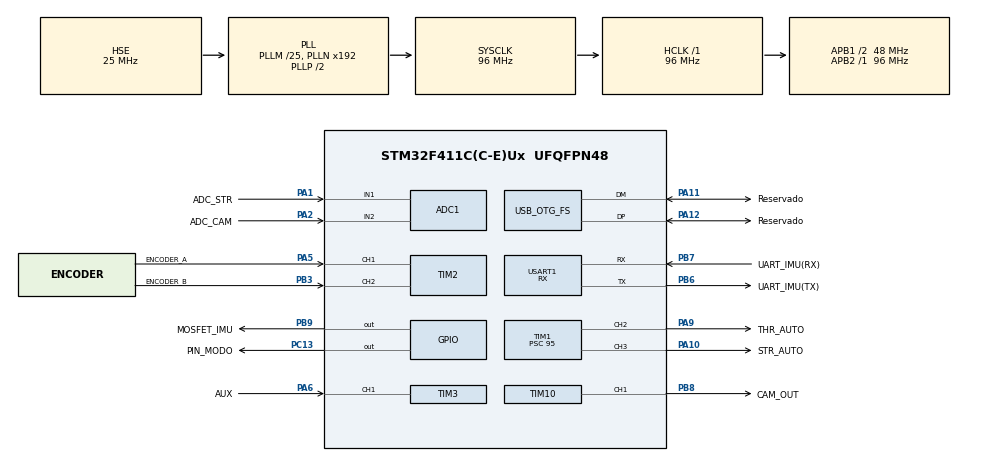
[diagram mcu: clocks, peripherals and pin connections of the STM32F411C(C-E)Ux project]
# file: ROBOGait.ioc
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ADC1.Channel-2\#ChannelRegularConversion=ADC_CHANNEL_1
ADC1.Channel-3\#ChannelRegularConversion=ADC_CHANNEL_2
ADC1.ContinuousConvMode=ENABLE
ADC1.DMAContinuousRequests=ENABLE
ADC1.NbrOfConversion=2
ADC1.NbrOfConversionFlag=1
ADC1.Rank-2\#ChannelRegularConversion=1
ADC1.Rank-3\#ChannelRegularConversion=2
ADC1.SamplingTime-2\#ChannelRegularConversion=ADC_SAMPLETIME_480CYCLES
ADC1.SamplingTime-3\#ChannelRegularConversion=ADC_SAMPLETIME_480CYCLES
ADC1.ScanConvMode=ENABLE
ADC1.master=1
Dma.ADC1.0.Direction=DMA_PERIPH_TO_MEMORY
Dma.ADC1.0.FIFOMode=DMA_FIFOMODE_DISABLE
Dma.ADC1.0.Instance=DMA2_Stream0
Dma.ADC1.0.MemDataAlignment=DMA_MDATAALIGN_WORD
Dma.ADC1.0.MemInc=DMA_MINC_ENABLE
Dma.ADC1.0.Mode=DMA_CIRCULAR
Dma.ADC1.0.PeriphDataAlignment=DMA_PDATAALIGN_WORD
Dma.ADC1.0.PeriphInc=DMA_PINC_DISABLE
Dma.ADC1.0.Priority=DMA_PRIORITY_LOW
Dma.Request0=ADC1
Mcu.Family=STM32F4
Mcu.Name=STM32F411C(C-E)Ux
Mcu.Package=UFQFPN48
NVIC.DMA2_Stream0_IRQn=true\:0\:0\:false\:false\:true\:false\:true\:true
NVIC.OTG_FS_IRQn=true\:0\:0\:false\:false\:true\:false\:true\:true
NVIC.PriorityGroup=NVIC_PRIORITYGROUP_4
NVIC.TIM1_TRG_COM_TIM11_IRQn=true\:0\:0\:false\:false\:true\:true\:true\:true
NVIC.TIM2_IRQn=true\:0\:0\:false\:false\:true\:true\:true\:true
NVIC.TIM3_IRQn=true\:0\:0\:false\:false\:true\:true\:true\:true
NVIC.USART1_IRQn=true\:0\:0\:false\:false\:true\:true\:true\:true
PA1.GPIO_Label=ADC_STR
PA1.Signal=ADCx_IN1
PA10.GPIO_Label=STR_AUTO
PA10.Signal=S_TIM1_CH3
PA11.GPIO_Label=Reservado
PA11.Mode=Device_Only
PA11.Signal=USB_OTG_FS_DM
PA12.GPIO_Label=Reservado
PA12.Mode=Device_Only
PA12.Signal=USB_OTG_FS_DP
PA2.GPIO_Label=ADC_CAM
PA2.Signal=ADCx_IN2
PA5.GPIO_Label=ENCODER_A
PA5.Signal=S_TIM2_CH1_ETR
PA6.GPIO_Label=AUX
PA6.Signal=S_TIM3_CH1
PA9.GPIO_Label=THR_AUTO
PA9.Signal=S_TIM1_CH2
PB3.GPIO_Label=ENCODER_B
PB3.Signal=S_TIM2_CH2
PB6.GPIO_Label=UART_IMU(TX)
PB6.Mode=Asynchronous
PB6.Signal=USART1_TX
PB7.GPIO_Label=UART_IMU(RX)
PB7.Mode=Asynchronous
PB7.Signal=USART1_RX
PB8.GPIO_Label=CAM_OUT
PB8.Signal=S_TIM10_CH1
PB9.GPIO_Label=MOSFET_IMU
PB9.Signal=GPIO_Output
PC13-ANTI_TAMP.GPIO_Label=PIN_MODO
PC13-ANTI_TAMP.Signal=GPIO_Output
PH0\ -\ OSC_IN.GPIO_Label=Reservado
PH0\ -\ OSC_IN.Mode=HSE-External-Oscillator
PH0\ -\ OSC_IN.Signal=RCC_OSC_IN
PH1\ -\ OSC_OUT.GPIO_Label=Reservado
PH1\ -\ OSC_OUT.Mode=HSE-External-Oscillator
PH1\ -\ OSC_OUT.Signal=RCC_OSC_OUT
ProjectManager.HeapSize=0x200
ProjectManager.StackSize=0x400
ProjectManager.TargetToolchain=STM32CubeIDE
RCC.48MHZClocksFreq_Value=48000000
RCC.AHBFreq_Value=96000000
RCC.APB1CLKDivider=RCC_HCLK_DIV2
RCC.APB1Freq_Value=48000000
RCC.APB1TimFreq_Value=96000000
RCC.APB2Freq_Value=96000000
RCC.APB2TimFreq_Value=96000000
RCC.CortexFreq_Value=96000000
RCC.HCLKFreq_Value=96000000
RCC.HSE_VALUE=25000000
RCC.HSI_VALUE=16000000
RCC.LSE_VALUE=32768
RCC.PLLM=25
RCC.SYSCLKFreq_VALUE=96000000
RCC.SYSCLKSource=RCC_SYSCLKSOURCE_PLLCLK
RCC.VCOOutputFreq_Value=192000000
SH.ADCx_IN1.0=ADC1_IN1,IN1
SH.ADCx_IN2.0=ADC1_IN2,IN2
SH.S_TIM10_CH1.0=TIM10_CH1,PWM Generation1 CH1
SH.S_TIM1_CH2.0=TIM1_CH2,PWM Generation2 CH2
SH.S_TIM1_CH3.0=TIM1_CH3,PWM Generation3 CH3
SH.S_TIM2_CH1_ETR.0=TIM2_CH1,Encoder_Interface
SH.S_TIM2_CH2.0=TIM2_CH2,Encoder_Interface
SH.S_TIM3_CH1.0=TIM3_CH1,PWM_Input_1
TIM1.Channel-PWM\ Generation2\ CH2=TIM_CHANNEL_2
TIM1.Channel-PWM\ Generation3\ CH3=TIM_CHANNEL_3
TIM1.Period=20000
TIM1.Prescaler=95
TIM10.Channel=TIM_CHANNEL_1
TIM10.Period=20000
TIM10.Prescaler=95
TIM10.Pulse=950
TIM3.Prescaler=100
USART1.Mode=MODE_RX
USART1.VirtualMode=VM_ASYNC
USB_DEVICE.CLASS_NAME_FS=CDC
USB_DEVICE.USBD_SELF_POWERED=0
USB_DEVICE.VirtualMode=Cdc
USB_DEVICE.VirtualModeFS=Cdc_FS
USB_OTG_FS.VirtualMode=Device_Only
VP_TIM10_VS_ClockSourceINT.Mode=Enable_Timer
VP_TIM1_VS_ClockSourceINT.Mode=Internal
VP_TIM3_VS_ClockSourceINT.Mode=Internal
VP_USB_DEVICE_VS_USB_DEVICE_CDC_FS.Mode=CDC_FS
board=custom

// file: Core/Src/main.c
/* USER CODE BEGIN Header */
/**
  ******************************************************************************
  * @file           : main.c
  * @brief          : Main program body
  ******************************************************************************
  * @attention
  *
  * Copyright (c) 2022 STMicroelectronics.
  * All rights reserved.
  *
  * This software is licensed under terms that can be found in the LICENSE file
  * in the root directory of this software component.
  * If no LICENSE file comes with this software, it is provided AS-IS.
  *
  ******************************************************************************
  */
/* USER CODE END Header */
#include "main.h"
#include "usb_device.h"

/* USER CODE BEGIN Includes */
#include <odometry.h>
#include <controller.h>
#include <radio.h>
#include <wt901c.h>
#include <interface.h>
#include <math.h>

/* USER CODE END Includes */

/* USER CODE BEGIN PD */
//Refresh rate
#define TIME 20 //ms
/* USER CODE END PD */

 ADC_HandleTypeDef hadc1;
DMA_HandleTypeDef hdma_adc1;

TIM_HandleTypeDef htim1;
TIM_HandleTypeDef htim2;
TIM_HandleTypeDef htim3;
TIM_HandleTypeDef htim10;

UART_HandleTypeDef huart1;

/* USER CODE BEGIN PV */

 Wt901c imu;
 Odometry odom;
 Controller control;
 Radio rc;

 float timer;

/* USER CODE END PV */

void SystemClock_Config(void);
static void MX_GPIO_Init(void);
static void MX_TIM3_Init(void);
static void MX_TIM10_Init(void);
static void MX_DMA_Init(void);
static void MX_TIM2_Init(void);
static void MX_ADC1_Init(void);
static void MX_TIM1_Init(void);
static void MX_USART1_UART_Init(void);
/* USER CODE BEGIN PFP */

void HAL_TIM_IC_CaptureCallback(TIM_HandleTypeDef *htim)
{
	//Medicion encoder
	if(htim->Instance == TIM2)
		odometry_callback(&odom);

	//Receptor radio
	if (htim->Instance == TIM3 && htim->Channel == 1)
		radio_callback(&rc);
}

void HAL_UART_RxCpltCallback(UART_HandleTypeDef *huart)
{
	//Comunicacion IMU
	wt901c_callback(&imu);
}

/* USER CODE END PFP */

int main(void)
{

  /* MCU Configuration--------------------------------------------------------*/

  /* Reset of all peripherals, Initializes the Flash interface and the Systick. */
  HAL_Init();

  /* Configure the system clock */
  SystemClock_Config();

  /* Initialize all configured peripherals */
  MX_GPIO_Init();
  MX_TIM3_Init();
  MX_TIM10_Init();
  MX_DMA_Init();
  MX_TIM2_Init();
  MX_ADC1_Init();
  MX_TIM1_Init();
  MX_USB_DEVICE_Init();
  MX_USART1_UART_Init();
  /* USER CODE BEGIN 2 */

  //Inicializacion de los "objetos"
  odometry_init(&odom, &htim2, &hadc1); //Odometria
  control_init(&control, &htim1, &htim10); //Control
  radio_init(&rc, &htim3); //Radio
  wt901c_init(&imu, &huart1); //IMU

  timer = HAL_GetTick();
  /* USER CODE END 2 */

  /* Infinite loop */
  /* USER CODE BEGIN WHILE */
  while (1)
  {
	  if(HAL_GetTick() - timer > TIME)
	  {
		  //Actualizacion radio
		  radio_update(&rc);

		  //Actualizacion control
		  control_update(&control, pid_compute(&control, &odom, &rc));

		  //Actualizacion odometria
		  odometry_update(&odom, imu.ang[2]);

		  //Envio mensaje USB
		  usb_transmit(&odom, &imu, &rc);

		  //Actualizacion temporizador
	  	  timer = HAL_GetTick();
	  }

    /* USER CODE END WHILE */

  }
}

void SystemClock_Config(void)
{
  RCC_OscInitTypeDef RCC_OscInitStruct = {0};
  RCC_ClkInitTypeDef RCC_ClkInitStruct = {0};

  /** Configure the main internal regulator output voltage
  */
  __HAL_RCC_PWR_CLK_ENABLE();
  __HAL_PWR_VOLTAGESCALING_CONFIG(PWR_REGULATOR_VOLTAGE_SCALE1);

  /** Initializes the RCC Oscillators according to the specified parameters
  * in the RCC_OscInitTypeDef structure.
  */
  RCC_OscInitStruct.OscillatorType = RCC_OSCILLATORTYPE_HSE;
  RCC_OscInitStruct.HSEState = RCC_HSE_ON;
  RCC_OscInitStruct.PLL.PLLState = RCC_PLL_ON;
  RCC_OscInitStruct.PLL.PLLSource = RCC_PLLSOURCE_HSE;
  RCC_OscInitStruct.PLL.PLLM = 25;
  RCC_OscInitStruct.PLL.PLLN = 192;
  RCC_OscInitStruct.PLL.PLLP = RCC_PLLP_DIV2;
  RCC_OscInitStruct.PLL.PLLQ = 4;
  if (HAL_RCC_OscConfig(&RCC_OscInitStruct) != HAL_OK)
  {
    Error_Handler();
  }

  /** Initializes the CPU, AHB and APB buses clocks
  */
  RCC_ClkInitStruct.ClockType = RCC_CLOCKTYPE_HCLK|RCC_CLOCKTYPE_SYSCLK
                              |RCC_CLOCKTYPE_PCLK1|RCC_CLOCKTYPE_PCLK2;
  RCC_ClkInitStruct.SYSCLKSource = RCC_SYSCLKSOURCE_PLLCLK;
  RCC_ClkInitStruct.AHBCLKDivider = RCC_SYSCLK_DIV1;
  RCC_ClkInitStruct.APB1CLKDivider = RCC_HCLK_DIV2;
  RCC_ClkInitStruct.APB2CLKDivider = RCC_HCLK_DIV1;

  if (HAL_RCC_ClockConfig(&RCC_ClkInitStruct, FLASH_LATENCY_3) != HAL_OK)
  {
    Error_Handler();
  }
}

static void MX_ADC1_Init(void)
{

  ADC_ChannelConfTypeDef sConfig = {0};

  /** Configure the global features of the ADC (Clock, Resolution, Data Alignment and number of conversion)
  */
  hadc1.Instance = ADC1;
  hadc1.Init.ClockPrescaler = ADC_CLOCK_SYNC_PCLK_DIV4;
  hadc1.Init.Resolution = ADC_RESOLUTION_12B;
  hadc1.Init.ScanConvMode = ENABLE;
  hadc1.Init.ContinuousConvMode = ENABLE;
  hadc1.Init.DiscontinuousConvMode = DISABLE;
  hadc1.Init.ExternalTrigConvEdge = ADC_EXTERNALTRIGCONVEDGE_NONE;
  hadc1.Init.ExternalTrigConv = ADC_SOFTWARE_START;
  hadc1.Init.DataAlign = ADC_DATAALIGN_RIGHT;
  hadc1.Init.NbrOfConversion = 2;
  hadc1.Init.DMAContinuousRequests = ENABLE;
  hadc1.Init.EOCSelection = ADC_EOC_SINGLE_CONV;
  if (HAL_ADC_Init(&hadc1) != HAL_OK)
  {
    Error_Handler();
  }

  /** Configure for the selected ADC regular channel its corresponding rank in the sequencer and its sample time.
  */
  sConfig.Channel = ADC_CHANNEL_1;
  sConfig.Rank = 1;
  sConfig.SamplingTime = ADC_SAMPLETIME_480CYCLES;
  if (HAL_ADC_ConfigChannel(&hadc1, &sConfig) != HAL_OK)
  {
    Error_Handler();
  }

  /** Configure for the selected ADC regular channel its corresponding rank in the sequencer and its sample time.
  */
  sConfig.Channel = ADC_CHANNEL_2;
  sConfig.Rank = 2;
  if (HAL_ADC_ConfigChannel(&hadc1, &sConfig) != HAL_OK)
  {
    Error_Handler();
  }

}

static void MX_TIM1_Init(void)
{

  TIM_ClockConfigTypeDef sClockSourceConfig = {0};
  TIM_MasterConfigTypeDef sMasterConfig = {0};
  TIM_OC_InitTypeDef sConfigOC = {0};
  TIM_BreakDeadTimeConfigTypeDef sBreakDeadTimeConfig = {0};

  htim1.Instance = TIM1;
  htim1.Init.Prescaler = 95;
  htim1.Init.CounterMode = TIM_COUNTERMODE_UP;
  htim1.Init.Period = 20000;
  htim1.Init.ClockDivision = TIM_CLOCKDIVISION_DIV1;
  htim1.Init.RepetitionCounter = 0;
  htim1.Init.AutoReloadPreload = TIM_AUTORELOAD_PRELOAD_DISABLE;
  if (HAL_TIM_Base_Init(&htim1) != HAL_OK)
  {
    Error_Handler();
  }
  sClockSourceConfig.ClockSource = TIM_CLOCKSOURCE_INTERNAL;
  if (HAL_TIM_ConfigClockSource(&htim1, &sClockSourceConfig) != HAL_OK)
  {
    Error_Handler();
  }
  if (HAL_TIM_PWM_Init(&htim1) != HAL_OK)
  {
    Error_Handler();
  }
  sMasterConfig.MasterOutputTrigger = TIM_TRGO_RESET;
  sMasterConfig.MasterSlaveMode = TIM_MASTERSLAVEMODE_DISABLE;
  if (HAL_TIMEx_MasterConfigSynchronization(&htim1, &sMasterConfig) != HAL_OK)
  {
    Error_Handler();
  }
  sConfigOC.OCMode = TIM_OCMODE_PWM1;
  sConfigOC.Pulse = 0;
  sConfigOC.OCPolarity = TIM_OCPOLARITY_HIGH;
  sConfigOC.OCNPolarity = TIM_OCNPOLARITY_HIGH;
  sConfigOC.OCFastMode = TIM_OCFAST_DISABLE;
  sConfigOC.OCIdleState = TIM_OCIDLESTATE_RESET;
  sConfigOC.OCNIdleState = TIM_OCNIDLESTATE_RESET;
  if (HAL_TIM_PWM_ConfigChannel(&htim1, &sConfigOC, TIM_CHANNEL_2) != HAL_OK)
  {
    Error_Handler();
  }
  if (HAL_TIM_PWM_ConfigChannel(&htim1, &sConfigOC, TIM_CHANNEL_3) != HAL_OK)
  {
    Error_Handler();
  }
  sBreakDeadTimeConfig.OffStateRunMode = TIM_OSSR_DISABLE;
  sBreakDeadTimeConfig.OffStateIDLEMode = TIM_OSSI_DISABLE;
  sBreakDeadTimeConfig.LockLevel = TIM_LOCKLEVEL_OFF;
  sBreakDeadTimeConfig.DeadTime = 0;
  sBreakDeadTimeConfig.BreakState = TIM_BREAK_DISABLE;
  sBreakDeadTimeConfig.BreakPolarity = TIM_BREAKPOLARITY_HIGH;
  sBreakDeadTimeConfig.AutomaticOutput = TIM_AUTOMATICOUTPUT_DISABLE;
  if (HAL_TIMEx_ConfigBreakDeadTime(&htim1, &sBreakDeadTimeConfig) != HAL_OK)
  {
    Error_Handler();
  }
  HAL_TIM_MspPostInit(&htim1);

}

static void MX_TIM2_Init(void)
{

  TIM_Encoder_InitTypeDef sConfig = {0};
  TIM_MasterConfigTypeDef sMasterConfig = {0};

  htim2.Instance = TIM2;
  htim2.Init.Prescaler = 0;
  htim2.Init.CounterMode = TIM_COUNTERMODE_UP;
  htim2.Init.Period = 4294967295;
  htim2.Init.ClockDivision = TIM_CLOCKDIVISION_DIV1;
  htim2.Init.AutoReloadPreload = TIM_AUTORELOAD_PRELOAD_DISABLE;
  sConfig.EncoderMode = TIM_ENCODERMODE_TI1;
  sConfig.IC1Polarity = TIM_ICPOLARITY_RISING;
  sConfig.IC1Selection = TIM_ICSELECTION_DIRECTTI;
  sConfig.IC1Prescaler = TIM_ICPSC_DIV1;
  sConfig.IC1Filter = 0;
  sConfig.IC2Polarity = TIM_ICPOLARITY_RISING;
  sConfig.IC2Selection = TIM_ICSELECTION_DIRECTTI;
  sConfig.IC2Prescaler = TIM_ICPSC_DIV1;
  sConfig.IC2Filter = 0;
  if (HAL_TIM_Encoder_Init(&htim2, &sConfig) != HAL_OK)
  {
    Error_Handler();
  }
  sMasterConfig.MasterOutputTrigger = TIM_TRGO_RESET;
  sMasterConfig.MasterSlaveMode = TIM_MASTERSLAVEMODE_DISABLE;
  if (HAL_TIMEx_MasterConfigSynchronization(&htim2, &sMasterConfig) != HAL_OK)
  {
    Error_Handler();
  }

}

static void MX_TIM3_Init(void)
{

  TIM_ClockConfigTypeDef sClockSourceConfig = {0};
  TIM_SlaveConfigTypeDef sSlaveConfig = {0};
  TIM_IC_InitTypeDef sConfigIC = {0};
  TIM_MasterConfigTypeDef sMasterConfig = {0};

  htim3.Instance = TIM3;
  htim3.Init.Prescaler = 100;
  htim3.Init.CounterMode = TIM_COUNTERMODE_UP;
  htim3.Init.Period = 65535;
  htim3.Init.ClockDivision = TIM_CLOCKDIVISION_DIV1;
  htim3.Init.AutoReloadPreload = TIM_AUTORELOAD_PRELOAD_DISABLE;
  if (HAL_TIM_Base_Init(&htim3) != HAL_OK)
  {
    Error_Handler();
  }
  sClockSourceConfig.ClockSource = TIM_CLOCKSOURCE_INTERNAL;
  if (HAL_TIM_ConfigClockSource(&htim3, &sClockSourceConfig) != HAL_OK)
  {
    Error_Handler();
  }
  if (HAL_TIM_IC_Init(&htim3) != HAL_OK)
  {
    Error_Handler();
  }
  sSlaveConfig.SlaveMode = TIM_SLAVEMODE_RESET;
  sSlaveConfig.InputTrigger = TIM_TS_TI1FP1;
  sSlaveConfig.TriggerPolarity = TIM_INPUTCHANNELPOLARITY_RISING;
  sSlaveConfig.TriggerPrescaler = TIM_ICPSC_DIV1;
  sSlaveConfig.TriggerFilter = 0;
  if (HAL_TIM_SlaveConfigSynchro(&htim3, &sSlaveConfig) != HAL_OK)
  {
    Error_Handler();
  }
  sConfigIC.ICPolarity = TIM_INPUTCHANNELPOLARITY_RISING;
  sConfigIC.ICSelection = TIM_ICSELECTION_DIRECTTI;
  sConfigIC.ICPrescaler = TIM_ICPSC_DIV1;
  sConfigIC.ICFilter = 0;
  if (HAL_TIM_IC_ConfigChannel(&htim3, &sConfigIC, TIM_CHANNEL_1) != HAL_OK)
  {
    Error_Handler();
  }
  sConfigIC.ICPolarity = TIM_INPUTCHANNELPOLARITY_FALLING;
  sConfigIC.ICSelection = TIM_ICSELECTION_INDIRECTTI;
  if (HAL_TIM_IC_ConfigChannel(&htim3, &sConfigIC, TIM_CHANNEL_2) != HAL_OK)
  {
    Error_Handler();
  }
  sMasterConfig.MasterOutputTrigger = TIM_TRGO_RESET;
  sMasterConfig.MasterSlaveMode = TIM_MASTERSLAVEMODE_DISABLE;
  if (HAL_TIMEx_MasterConfigSynchronization(&htim3, &sMasterConfig) != HAL_OK)
  {
    Error_Handler();
  }

}

static void MX_TIM10_Init(void)
{

  TIM_OC_InitTypeDef sConfigOC = {0};

  htim10.Instance = TIM10;
  htim10.Init.Prescaler = 95;
  htim10.Init.CounterMode = TIM_COUNTERMODE_UP;
  htim10.Init.Period = 20000;
  htim10.Init.ClockDivision = TIM_CLOCKDIVISION_DIV1;
  htim10.Init.AutoReloadPreload = TIM_AUTORELOAD_PRELOAD_DISABLE;
  if (HAL_TIM_Base_Init(&htim10) != HAL_OK)
  {
    Error_Handler();
  }
  if (HAL_TIM_PWM_Init(&htim10) != HAL_OK)
  {
    Error_Handler();
  }
  sConfigOC.OCMode = TIM_OCMODE_PWM1;
  sConfigOC.Pulse = 950;
  sConfigOC.OCPolarity = TIM_OCPOLARITY_HIGH;
  sConfigOC.OCFastMode = TIM_OCFAST_DISABLE;
  if (HAL_TIM_PWM_ConfigChannel(&htim10, &sConfigOC, TIM_CHANNEL_1) != HAL_OK)
  {
    Error_Handler();
  }
  HAL_TIM_MspPostInit(&htim10);

}

static void MX_USART1_UART_Init(void)
{

  huart1.Instance = USART1;
  huart1.Init.BaudRate = 115200;
  huart1.Init.WordLength = UART_WORDLENGTH_8B;
  huart1.Init.StopBits = UART_STOPBITS_1;
  huart1.Init.Parity = UART_PARITY_NONE;
  huart1.Init.Mode = UART_MODE_RX;
  huart1.Init.HwFlowCtl = UART_HWCONTROL_NONE;
  huart1.Init.OverSampling = UART_OVERSAMPLING_16;
  if (HAL_UART_Init(&huart1) != HAL_OK)
  {
    Error_Handler();
  }

}

static void MX_DMA_Init(void)
{

  /* DMA controller clock enable */
  __HAL_RCC_DMA2_CLK_ENABLE();

  /* DMA interrupt init */
  /* DMA2_Stream0_IRQn interrupt configuration */
  HAL_NVIC_SetPriority(DMA2_Stream0_IRQn, 0, 0);
  HAL_NVIC_EnableIRQ(DMA2_Stream0_IRQn);

}

static void MX_GPIO_Init(void)
{
  GPIO_InitTypeDef GPIO_InitStruct = {0};

  /* GPIO Ports Clock Enable */
  __HAL_RCC_GPIOC_CLK_ENABLE();
  __HAL_RCC_GPIOH_CLK_ENABLE();
  __HAL_RCC_GPIOA_CLK_ENABLE();
  __HAL_RCC_GPIOB_CLK_ENABLE();

  /*Configure GPIO pin Output Level */
  HAL_GPIO_WritePin(PIN_MODO_GPIO_Port, PIN_MODO_Pin, GPIO_PIN_RESET);

  /*Configure GPIO pin Output Level */
  HAL_GPIO_WritePin(MOSFET_IMU_GPIO_Port, MOSFET_IMU_Pin, GPIO_PIN_RESET);

  /*Configure GPIO pin : PIN_MODO_Pin */
  GPIO_InitStruct.Pin = PIN_MODO_Pin;
  GPIO_InitStruct.Mode = GPIO_MODE_OUTPUT_PP;
  GPIO_InitStruct.Pull = GPIO_NOPULL;
  GPIO_InitStruct.Speed = GPIO_SPEED_FREQ_LOW;
  HAL_GPIO_Init(PIN_MODO_GPIO_Port, &GPIO_InitStruct);

  /*Configure GPIO pin : MOSFET_IMU_Pin */
  GPIO_InitStruct.Pin = MOSFET_IMU_Pin;
  GPIO_InitStruct.Mode = GPIO_MODE_OUTPUT_PP;
  GPIO_InitStruct.Pull = GPIO_NOPULL;
  GPIO_InitStruct.Speed = GPIO_SPEED_FREQ_LOW;
  HAL_GPIO_Init(MOSFET_IMU_GPIO_Port, &GPIO_InitStruct);

}

void Error_Handler(void)
{
  __disable_irq();
  while (1)
  {
  }
}
